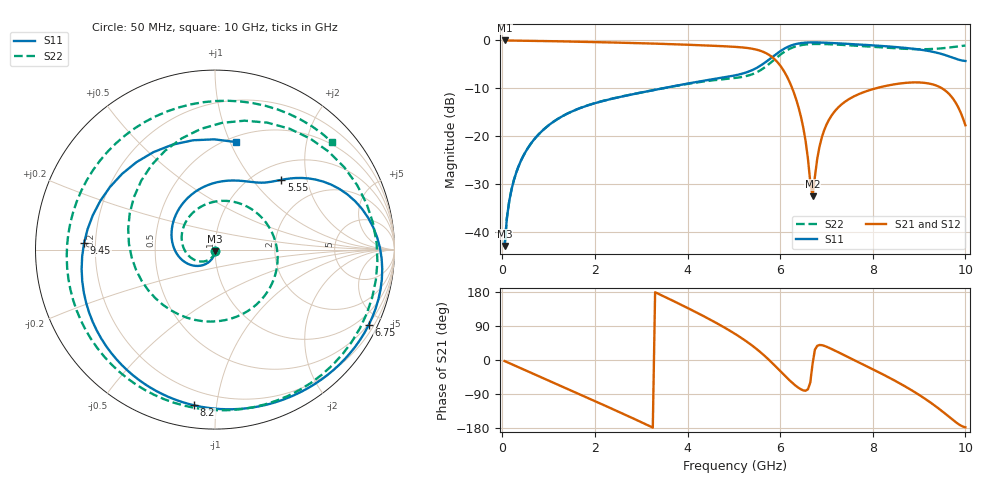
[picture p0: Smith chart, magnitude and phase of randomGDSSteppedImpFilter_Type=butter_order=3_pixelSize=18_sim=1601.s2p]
! freq	dB(S11)	phase(S11)	dB(S12)	phase(S12)
!  dB(S21)	phase(S21)	dB(S22)	phase(S22)
!S-par simulation data
#  GHz  S  DB  R 50
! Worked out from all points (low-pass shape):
!   200 points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, 50 MHz to 10 GHz, reference 50 ohm
!   highest |S21| = 0.00 dB at 50 MHz (marker M1); lowest = -32.5 dB at 6.7 GHz (marker M2)
!   |S21| within 3 dB of the highest: start of sweep to 5.758 GHz
!   lowest |S11| = -42.9 dB at 50 MHz (marker M3), VSWR 1.01, Z = 50 - j0.714 ohm
!   |S11| at or under -10 dB: start of sweep to 3.461 GHz
!   |S22| runs from -43.0 to -0.7 dB; largest |S21 - S12| = 0
!   S11 on the Smith chart (normalised r, x): 50 MHz: 1.00, -0.01; 5.55 GHz: 1.30, +1.42; 6.75 GHz: 0.45, -4.25; 8.2 GHz: 0.12, -0.87; 9.45 GHz: 0.16, +0.02; 10 GHz: 0.55, +1.05
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0.05  -42.92 -90.8  -0.00 -2.8  -0.00 -2.8  -42.95 -91.9
0.2  -31.08 -98.8  -0.02 -10.9  -0.02 -10.9  -31.10 -102.4
0.5  -23.29 -113.1  -0.06 -27.2  -0.06 -27.2  -23.31 -122.3
1.75  -13.88 -167.6  -0.29 -94.9  -0.29 -94.9  -13.87 155.9
2.65  -11.57 156.1  -0.49 -144.3  -0.49 -144.3  -11.55 93.4
3.4  -10.12 125.8  -0.70 173.0  -0.70 173.0  -10.12 38.7
4.35  -8.41 85.8  -1.03 115.5  -1.03 115.5  -8.57 -35.3
5.05  -7.25 59.7  -1.36 67.1  -1.36 67.1  -7.80 -105.9
5.55  -5.41 46.5  -2.09 23.1  -2.09 23.1  -6.36 176.1
5.8  -3.69 37.4  -3.28 -4.5  -3.28 -4.5  -4.60 126.9
6.1  -1.66 19.1  -6.70 -41.3  -6.70 -41.3  -2.33 67.6
6.45  -0.56 -6.6  -15.98 -77.5  -15.98 -77.5  -0.98 9.4
6.7  -0.41 -23.2  -32.53 -10.3  -32.53 -10.3  -0.75 -22.8
6.75  -0.41 -26.2  -28.49 27.0  -28.49 27.0  -0.74 -28.5
6.95  -0.46 -37.7  -18.76 37.4  -18.76 37.4  -0.76 -49.4
7.4  -0.68 -60.5  -12.80 11.8  -12.80 11.8  -0.96 -89.0
8.2  -1.16 -97.7  -9.67 -36.7  -9.67 -36.7  -1.46 -152.2
8.35  -1.26 -104.9  -9.36 -46.3  -9.36 -46.3  -1.56 -164.5
8.85  -1.71 -132.1  -8.77 -80.6  -8.77 -80.6  -1.81 151.6
9.45  -2.73 177.2  -9.76 -130.6  -9.76 -130.6  -1.68 94.5
9.7  -3.50 140.9  -11.74 -155.1  -11.74 -155.1  -1.42 70.6
10  -4.29 79.1  -17.71 -177.6  -17.71 -177.6  -1.06 42.7
